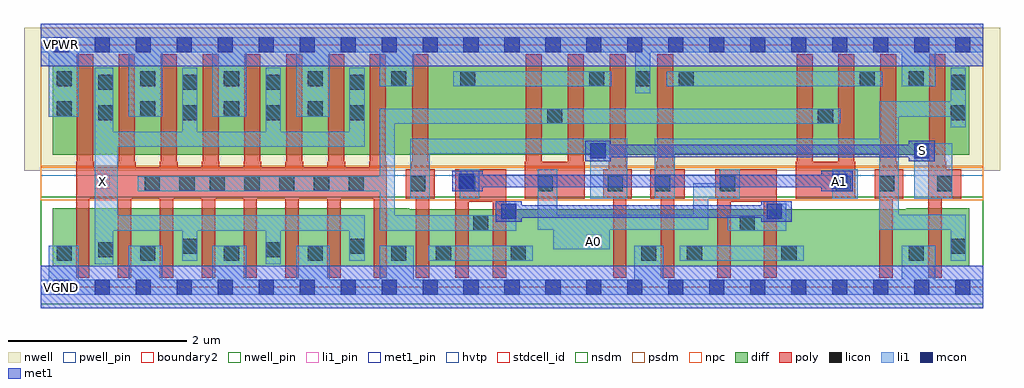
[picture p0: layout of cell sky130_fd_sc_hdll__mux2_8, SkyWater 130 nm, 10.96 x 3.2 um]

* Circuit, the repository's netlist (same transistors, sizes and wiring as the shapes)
* Copyright 2020 The SkyWater PDK Authors
*
* Licensed under the Apache License, Version 2.0 (the "License");
* you may not use this file except in compliance with the License.
* You may obtain a copy of the License at
*
*     https://www.apache.org/licenses/LICENSE-2.0
*
* Unless required by applicable law or agreed to in writing, software
* distributed under the License is distributed on an "AS IS" BASIS,
* WITHOUT WARRANTIES OR CONDITIONS OF ANY KIND, either express or implied.
* See the License for the specific language governing permissions and
* limitations under the License.
*
* SPDX-License-Identifier: Apache-2.0

.SUBCKT sky130_fd_sc_hdll__mux2_8 A0 A1 S VGND VNB VPB VPWR X
*.PININFO A0:I A1:I S:I VGND:I VNB:I VPB:I VPWR:I X:O
MMNA00 xb A0 smdNA0 VNB sky130_fd_pr__nfet_01v8 m=2 w=0.64U l=0.15U mult=1 sa=0.265
+ sb=0.265 sd=0.28 area=0.063 perim=1.14
MMNA01 smdNA0 Sb VGND VNB sky130_fd_pr__nfet_01v8 m=2 w=0.64U l=0.15U mult=1 sa=0.265
+ sb=0.265 sd=0.28 area=0.063 perim=1.14
MMNA10 xb A1 sndNA1 VNB sky130_fd_pr__nfet_01v8 m=2 w=0.64U l=0.15U mult=1 sa=0.265
+ sb=0.265 sd=0.28 area=0.063 perim=1.14
MMNA11 sndNA1 S VGND VNB sky130_fd_pr__nfet_01v8 m=2 w=0.64U l=0.15U mult=1 sa=0.265
+ sb=0.265 sd=0.28 area=0.063 perim=1.14
MMIN1 Sb S VGND VNB sky130_fd_pr__nfet_01v8 m=1 w=0.65U l=0.15U mult=1 sa=0.265
+ sb=0.265 sd=0.28 area=0.063 perim=1.14
MMIN2 X xb VGND VNB sky130_fd_pr__nfet_01v8 m=8 w=0.65U l=0.15U mult=1 sa=0.265
+ sb=0.265 sd=0.28 area=0.063 perim=1.14
MMPA00 VPWR S sndPS VPB sky130_fd_pr__pfet_01v8_hvt m=2 w=1.0U l=0.18U mult=1 sa=0.265
+ sb=0.265 sd=0.28 area=0.063 perim=1.14
MMPA01 sndPS A0 xb VPB sky130_fd_pr__pfet_01v8_hvt m=2 w=1.0U l=0.18U mult=1 sa=0.265
+ sb=0.265 sd=0.28 area=0.063 perim=1.14
MMPA10 VPWR Sb sndPSb VPB sky130_fd_pr__pfet_01v8_hvt m=2 w=1.0U l=0.18U mult=1
+ sa=0.265 sb=0.265 sd=0.28 area=0.063 perim=1.14
MMPA11 sndPSb A1 xb VPB sky130_fd_pr__pfet_01v8_hvt m=2 w=1.0U l=0.18U mult=1 sa=0.265
+ sb=0.265 sd=0.28 area=0.063 perim=1.14
MMIP1 Sb S VPWR VPB sky130_fd_pr__pfet_01v8_hvt m=1 w=1.0U l=0.18U mult=1 sa=0.265
+ sb=0.265 sd=0.28 area=0.063 perim=1.14
MMIP2 X xb VPWR VPB sky130_fd_pr__pfet_01v8_hvt m=8 w=1.0U l=0.18U mult=1 sa=0.265
+ sb=0.265 sd=0.28 area=0.063 perim=1.14
.ENDS sky130_fd_sc_hdll__mux2_8

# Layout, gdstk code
import gdstk
lib = gdstk.Library(unit=1e-6, precision=1e-09)
def R(c, l, rs):  # rectangles x0, y0, x1, y1
    for r in rs: c.add(gdstk.rectangle(r[:2], r[2:], *l))
def A(c, l, x, y, w, h, nx, ny, dx, dy):  # array of equal rectangles
    R(c, l, [(x+i*dx, y+j*dy, x+i*dx+w, y+j*dy+h) for i in range(nx) for j in range(ny)])
def P(c, l, *ps):  # polygons
    for p in ps: c.add(gdstk.Polygon(p, *l))
nwell_pin = (64, 16)
nwell = (64, 20)
diff = (65, 20)
poly = (66, 20)
licon = (66, 44)
li1_pin = (67, 16)
li1 = (67, 20)
mcon = (67, 44)
met1_pin = (68, 16)
met1 = (68, 20)
hvtp = (78, 44)
stdcell_id = (81, 4)
nsdm = (93, 44)
psdm = (94, 20)
npc = (95, 20)
pwell_pin = (122, 16)
boundary2 = (236, 0)

sky130_fd_sc_hdll__mux2_ = lib.new_cell('sky130_fd_sc_hdll__mux2_8')
R(sky130_fd_sc_hdll__mux2_, nwell_pin, [(0.15,2.635,0.32,2.805)])
R(sky130_fd_sc_hdll__mux2_, nwell, [(-0.19,1.305,10.77,2.91)])
R(sky130_fd_sc_hdll__mux2_, diff, [(0.135,1.485,10.425,2.485)])
P(sky130_fd_sc_hdll__mux2_, diff, [(10.425,0.885),(9.715,0.885),(9.715,0.875),(4.135,0.875),(4.135,0.885),(0.135,0.885),(0.135,0.235),(10.425,0.235)])
P(sky130_fd_sc_hdll__mux2_, poly, [(3.885,1.41),(3.875,1.41),(3.875,2.615),(3.695,2.615),(3.695,1.41),(3.685,1.41),(3.685,1.345),(3.415,1.345),(3.415,1.41),(3.405,1.41),(3.405,2.615),(3.225,2.615),(3.225,1.41),(3.215,1.41),(3.215,1.345),(2.945,1.345),(2.945,1.41),(2.935,1.41),(2.935,2.615),(2.755,2.615),(2.755,1.41),(2.745,1.41),(2.745,1.345),(2.475,1.345),(2.475,1.41),(2.465,1.41),(2.465,2.615),(2.285,2.615),(2.285,1.41),(2.275,1.41),(2.275,1.345),(2.005,1.345),(2.005,1.41),(1.995,1.41),(1.995,2.615),(1.815,2.615),(1.815,1.41),(1.805,1.41),(1.805,1.345),(1.535,1.345),(1.535,1.41),(1.525,1.41),(1.525,2.615),(1.345,2.615),(1.345,1.41),(1.335,1.41),(1.335,1.345),(1.065,1.345),(1.065,1.41),(1.055,1.41),(1.055,2.615),(0.875,2.615),(0.875,1.41),(0.865,1.41),(0.865,1.345),(0.595,1.345),(0.595,1.41),(0.585,1.41),(0.585,2.615),(0.405,2.615),(0.405,1.41),(0.395,1.41),(0.395,0.105),(0.545,0.105),(0.545,0.995),(0.865,0.995),(0.865,0.105),(1.015,0.105),(1.015,0.995),(1.335,0.995),(1.335,0.105),(1.485,0.105),(1.485,0.995),(1.805,0.995),(1.805,0.105),(1.955,0.105),(1.955,0.995),(2.275,0.995),(2.275,0.105),(2.425,0.105),(2.425,0.995),(2.745,0.995),(2.745,0.105),(2.895,0.105),(2.895,0.995),(3.215,0.995),(3.215,0.105),(3.365,0.105),(3.365,0.995),(3.735,0.995),(3.735,0.105),(3.885,0.105)],
  [(4.42,1.325),(4.36,1.325),(4.36,1.41),(4.35,1.41),(4.35,2.615),(4.17,2.615),(4.17,1.41),(4.16,1.41),(4.16,1.325),(4.095,1.325),(4.095,0.995),(4.21,0.995),(4.21,0.105),(4.36,0.105),(4.36,0.995),(4.42,0.995)],
  [(5.225,1.325),(4.655,1.325),(4.655,0.105),(4.805,0.105),(4.805,0.96),(5.075,0.96),(5.075,0.105),(5.225,0.105)],
  [(6.105,1.41),(6.095,1.41),(6.095,2.615),(5.915,2.615),(5.915,1.41),(5.625,1.41),(5.625,2.615),(5.445,2.615),(5.445,1.41),(5.435,1.41),(5.435,0.995),(6.105,0.995)],
  [(6.635,1.325),(6.575,1.325),(6.575,1.41),(6.565,1.41),(6.565,2.615),(6.385,2.615),(6.385,1.41),(6.375,1.41),(6.375,1.325),(6.315,1.325),(6.315,0.995),(6.425,0.995),(6.425,0.105),(6.575,0.105),(6.575,0.995),(6.635,0.995)],
  [(7.23,1.325),(7.11,1.325),(7.11,1.41),(7.1,1.41),(7.1,2.615),(6.92,2.615),(6.92,1.41),(6.91,1.41),(6.91,1.325),(6.845,1.325),(6.845,0.995),(6.96,0.995),(6.96,0.105),(7.11,0.105),(7.11,0.995),(7.23,0.995)],
  [(8.265,1.325),(7.575,1.325),(7.575,0.995),(7.595,0.995),(7.595,0.105),(7.745,0.105),(7.745,0.96),(8.115,0.96),(8.115,0.105),(8.265,0.105)],
  [(9.145,1.41),(9.135,1.41),(9.135,2.615),(8.955,2.615),(8.955,1.41),(8.665,1.41),(8.665,2.615),(8.485,2.615),(8.485,1.41),(8.475,1.41),(8.475,0.995),(9.145,0.995)],
  [(9.685,1.325),(9.615,1.325),(9.615,1.41),(9.605,1.41),(9.605,2.615),(9.425,2.615),(9.425,1.41),(9.415,1.41),(9.415,1.325),(9.365,1.325),(9.365,0.995),(9.415,0.995),(9.415,0.105),(9.565,0.105),(9.565,0.995),(9.685,0.995)],
  [(10.335,1.325),(10.165,1.325),(10.165,1.41),(10.155,1.41),(10.155,2.615),(9.975,2.615),(9.975,1.41),(9.965,1.41),(9.965,0.105),(10.115,0.105),(10.115,0.995),(10.335,0.995)])
A(sky130_fd_sc_hdll__mux2_, licon, 0.175, 0.295, 0.17, 0.17, 5, 2, 0.94, 1.96)
A(sky130_fd_sc_hdll__mux2_, licon, 1.895, 1.075, 0.17, 0.17, 5, 1, 0.39, 0)
A(sky130_fd_sc_hdll__mux2_, licon, 0.645, 1.875, 0.17, 0.17, 4, 2, 0.94, 0.34)
A(sky130_fd_sc_hdll__mux2_, licon, 0.175, 1.915, 0.17, 0.17, 4, 1, 0.94, 0)
R(sky130_fd_sc_hdll__mux2_, licon, [(4.435,0.295,4.605,0.465), (5.275,0.295,5.445,0.465), (6.74,0.295,6.91,0.465), (7.255,0.295,7.425,0.465), (8.315,0.295,8.485,0.465), (9.745,0.295,9.915,0.465), (0.645,0.335,0.815,0.505), (2.525,0.335,2.695,0.505), (1.585,0.375,1.755,0.545), (3.465,0.375,3.635,0.545), (10.215,0.375,10.385,0.545), (4.855,0.635,5.025,0.805), (7.845,0.635,8.015,0.805), (1.165,1.075,1.335,1.245), (1.555,1.075,1.725,1.245), (4.145,1.075,4.315,1.245), (4.705,1.075,4.875,1.245), (5.58,1.075,5.75,1.245), (6.365,1.075,6.535,1.245), (6.895,1.075,7.065,1.245), (7.625,1.075,7.795,1.245), (8.925,1.075,9.095,1.245), (9.415,1.075,9.585,1.245), (10.065,1.075,10.235,1.245), (5.685,1.835,5.855,2.005), (8.725,1.835,8.895,2.005), (10.215,1.875,10.385,2.045), (10.215,2.215,10.385,2.385), (4.71,2.255,4.88,2.425), (6.155,2.255,6.325,2.425), (6.675,2.255,6.845,2.425), (7.16,2.255,7.33,2.425), (9.195,2.255,9.365,2.425), (9.745,2.255,9.915,2.425)])
R(sky130_fd_sc_hdll__mux2_, li1_pin, [(6.125,0.425,6.295,0.595), (0.605,1.105,0.775,1.275)])
R(sky130_fd_sc_hdll__mux2_, li1, [(4.355,0.295,5.525,0.465), (7.175,0.295,8.565,0.465), (8.885,0.995,9.17,1.325), (9.805,0.995,10.235,1.615), (4.63,2.255,6.405,2.425), (7.03,2.255,9.445,2.425)])
P(sky130_fd_sc_hdll__mux2_, li1, [(3.635,0.805),(0.865,0.805),(0.865,1.575),(3.635,1.575),(3.635,2.465),(3.465,2.465),(3.465,1.745),(2.695,1.745),(2.695,2.465),(2.525,2.465),(2.525,1.745),(1.755,1.745),(1.755,2.465),(1.585,2.465),(1.585,1.745),(0.815,1.745),(0.815,2.465),(0.605,2.465),(0.605,0.255),(0.815,0.255),(0.815,0.635),(1.585,0.635),(1.585,0.295),(1.755,0.295),(1.755,0.635),(2.525,0.635),(2.525,0.255),(2.695,0.255),(2.695,0.635),(3.465,0.635),(3.465,0.295),(3.635,0.295)],
  [(4.925,1.325),(4.705,1.325),(4.705,1.275),(4.69,1.275),(4.69,1.105),(4.705,1.105),(4.705,0.995),(4.925,0.995)],
  [(6.585,1.665),(4.145,1.665),(4.145,0.995),(4.365,0.995),(4.365,1.495),(6.17,1.495),(6.17,0.995),(6.585,0.995)],
  [(7.845,1.325),(7.625,1.325),(7.625,1.165),(7.325,1.165),(7.325,0.815),(5.8,0.815),(5.8,1.325),(5.58,1.325),(5.58,0.645),(5.755,0.645),(5.755,0.425),(6.39,0.425),(6.39,0.645),(7.495,0.645),(7.495,0.995),(7.845,0.995)],
  [(8.37,0.935),(8.15,0.935),(8.15,0.805),(7.715,0.805),(7.715,0.635),(8.37,0.635)],
  [(8.975,2.005),(3.805,2.005),(3.805,1.245),(1.085,1.245),(1.085,1.075),(3.805,1.075),(3.805,0.635),(5.34,0.635),(5.34,0.935),(5.17,0.935),(5.17,0.805),(3.975,0.805),(3.975,1.835),(8.975,1.835)],
  [(10.385,0.815),(9.635,0.815),(9.635,1.915),(10.215,1.915),(10.215,1.795),(10.385,1.795),(10.385,2.465),(10.215,2.465),(10.215,2.085),(9.415,2.085),(9.415,1.665),(6.895,1.665),(6.895,0.995),(7.115,0.995),(7.115,1.495),(9.415,1.495),(9.415,0.645),(10.215,0.645),(10.215,0.295),(10.385,0.295)],
  [(10.58,2.805),(0,2.805),(0,2.635),(0.09,2.635),(0.09,1.915),(0.425,1.915),(0.425,2.635),(0.985,2.635),(0.985,1.915),(1.365,1.915),(1.365,2.635),(1.925,2.635),(1.925,1.915),(2.305,1.915),(2.305,2.635),(2.865,2.635),(2.865,1.915),(3.245,1.915),(3.245,2.635),(3.805,2.635),(3.805,2.255),(4.185,2.255),(4.185,2.635),(6.675,2.635),(6.675,2.175),(6.845,2.175),(6.845,2.635),(9.665,2.635),(9.665,2.255),(10.045,2.255),(10.045,2.635),(10.58,2.635)],
  [(10.58,0.085),(10.045,0.085),(10.045,0.465),(9.665,0.465),(9.665,0.085),(6.99,0.085),(6.99,0.465),(6.66,0.465),(6.66,0.085),(4.185,0.085),(4.185,0.465),(3.805,0.465),(3.805,0.085),(3.245,0.085),(3.245,0.465),(2.865,0.465),(2.865,0.085),(2.305,0.085),(2.305,0.465),(1.925,0.465),(1.925,0.085),(1.365,0.085),(1.365,0.465),(0.985,0.465),(0.985,0.085),(0.425,0.085),(0.425,0.465),(0.09,0.465),(0.09,0.085),(0,0.085),(0,-0.085),(10.58,-0.085)])
A(sky130_fd_sc_hdll__mux2_, mcon, 0.145, -0.085, 0.17, 0.17, 23, 2, 0.46, 2.72)
R(sky130_fd_sc_hdll__mux2_, mcon, [(5.17,0.765,5.34,0.935), (8.15,0.765,8.32,0.935), (4.69,1.105,4.86,1.275), (8.885,1.105,9.055,1.275), (6.17,1.445,6.34,1.615), (9.805,1.445,9.975,1.615)])
R(sky130_fd_sc_hdll__mux2_, met1_pin, [(0.15,-0.085,0.32,0.085), (8.885,1.105,9.055,1.275), (9.805,1.445,9.975,1.615), (0.15,2.635,0.32,2.805)])
R(sky130_fd_sc_hdll__mux2_, met1, [(0,-0.24,10.58,0.24), (0,2.48,10.58,2.96)])
P(sky130_fd_sc_hdll__mux2_, met1, [(8.43,0.965),(8.09,0.965),(8.09,0.92),(5.4,0.92),(5.4,0.965),(5.11,0.965),(5.11,0.735),(5.4,0.735),(5.4,0.78),(8.09,0.78),(8.09,0.735),(8.43,0.735)],
  [(9.115,1.305),(8.765,1.305),(8.765,1.26),(4.96,1.26),(4.96,1.305),(4.62,1.305),(4.62,1.075),(4.96,1.075),(4.96,1.12),(8.765,1.12),(8.765,1.075),(9.115,1.075)],
  [(10.035,1.645),(9.745,1.645),(9.745,1.6),(6.4,1.6),(6.4,1.645),(6.11,1.645),(6.11,1.415),(6.4,1.415),(6.4,1.46),(9.745,1.46),(9.745,1.415),(10.035,1.415)])
R(sky130_fd_sc_hdll__mux2_, hvtp, [(0,1.25,10.58,2.72)])
R(sky130_fd_sc_hdll__mux2_, stdcell_id, [(0,0,10.58,2.72)])
R(sky130_fd_sc_hdll__mux2_, nsdm, [(0,-0.19,10.58,1.015)])
R(sky130_fd_sc_hdll__mux2_, psdm, [(0,1.355,10.58,2.91)])
R(sky130_fd_sc_hdll__mux2_, npc, [(0,0.975,10.58,1.345)])
R(sky130_fd_sc_hdll__mux2_, pwell_pin, [(0.15,-0.085,0.32,0.085)])
R(sky130_fd_sc_hdll__mux2_, boundary2, [(0,0,10.58,2.72)])
sky130_fd_sc_hdll__mux2_.add(gdstk.Label('S', (9.9,1.53), layer=68, texttype=5))
sky130_fd_sc_hdll__mux2_.add(gdstk.Label('A1', (8.97,1.19), layer=68, texttype=5))
sky130_fd_sc_hdll__mux2_.add(gdstk.Label('VPWR', (0.23,2.72), layer=68, texttype=5))
sky130_fd_sc_hdll__mux2_.add(gdstk.Label('VGND', (0.23,0), layer=68, texttype=5))
sky130_fd_sc_hdll__mux2_.add(gdstk.Label('VPB', (0.23,2.72), layer=64, texttype=5))
sky130_fd_sc_hdll__mux2_.add(gdstk.Label('VNB', (0.23,0), layer=64, texttype=59))
sky130_fd_sc_hdll__mux2_.add(gdstk.Label('A0', (6.205,0.51), layer=67, texttype=5))
sky130_fd_sc_hdll__mux2_.add(gdstk.Label('X', (0.695,1.19), layer=67, texttype=5))
sky130_fd_sc_hdll__mux2_.add(gdstk.Label('mux2_8', (0,0), layer=83, texttype=44))

lib.write_gds('sky130_fd_sc_hdll__mux2_8.gds')
